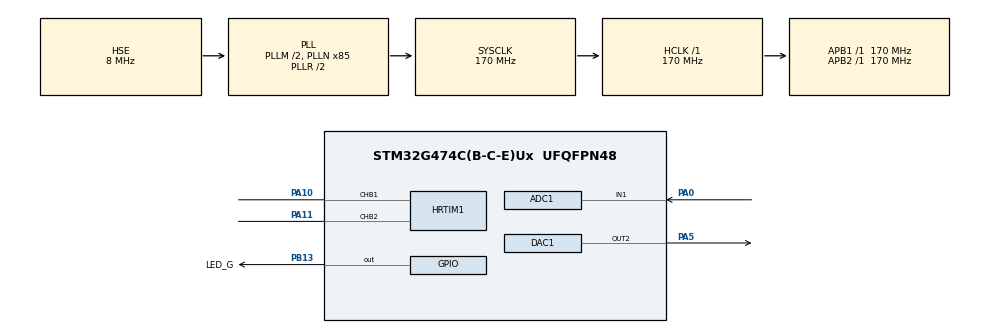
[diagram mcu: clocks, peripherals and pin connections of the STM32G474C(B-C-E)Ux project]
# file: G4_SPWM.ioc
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ADC1.Channel-0\#ChannelRegularConversion=ADC_CHANNEL_1
ADC1.ClockPrescaler=ADC_CLOCK_ASYNC_DIV4
ADC1.ContinuousConvMode=DISABLE
ADC1.EnableInjectedConversion=DISABLE
ADC1.ExternalTrigConv=ADC_EXTERNALTRIG_T3_TRGO
ADC1.LowPowerAutoWait=ENABLE
ADC1.NbrOfConversion=1
ADC1.NbrOfConversionFlag=1
ADC1.OffsetNumber-0\#ChannelRegularConversion=ADC_OFFSET_NONE
ADC1.Rank-0\#ChannelRegularConversion=1
ADC1.Rank1_Channel=ADC_CHANNEL_1
ADC1.SamplingTime-0\#ChannelRegularConversion=ADC_SAMPLETIME_2CYCLES_5
ADC1.master=1
DAC1.DAC_Channel-DAC_OUT2=DAC_CHANNEL_2
HRTIM1.CompareUnit1-Output_TB1TB2=HRTIM_COMPAREUNIT_1
HRTIM1.CompareValue1-Output_TB1TB2=0
HRTIM1.DeadTimeInsertion-Output_TB1TB2=HRTIM_TIMDEADTIMEINSERTION_ENABLED
HRTIM1.FallingValue-Output_TB1TB2=200
HRTIM1.NumberResetSource1-Output_TB1TB2=1
HRTIM1.NumberSetSource1-Output_TB1TB2=1
HRTIM1.Periode_TB=11333
HRTIM1.PreloadEnable-Output_TB1TB2=HRTIM_PRELOAD_ENABLED
HRTIM1.PrescalerRatio_TB=HRTIM_PRESCALERRATIO_DIV1
HRTIM1.RepetitionUpdate-Output_TB1TB2=HRTIM_UPDATEONREPETITION_ENABLED
HRTIM1.ResetOutput1_Source1-Output_TB1TB2=HRTIM_OUTPUTRESET_TIMCMP1
HRTIM1.RisingValue-Output_TB1TB2=200
HRTIM1.SetOutput1_Source1-Output_TB1TB2=HRTIM_OUTPUTSET_TIMPER
Mcu.Family=STM32G4
Mcu.Name=STM32G474C(B-C-E)Ux
Mcu.Package=UFQFPN48
NVIC.ADC1_2_IRQn=true\:0\:0\:false\:false\:true\:true\:true\:true
NVIC.HRTIM1_TIMB_IRQn=true\:0\:0\:false\:false\:true\:true\:true\:true
NVIC.PriorityGroup=NVIC_PRIORITYGROUP_4
NVIC.TIM2_IRQn=true\:0\:0\:false\:false\:true\:true\:true\:true
PA0.Mode=IN1-Single-Ended
PA0.Signal=ADC1_IN1
PA10.Mode=Output_TB1TB2
PA10.Signal=HRTIM1_CHB1
PA11.Mode=Output_TB1TB2
PA11.Signal=HRTIM1_CHB2
PA13.Mode=Serial_Wire
PA13.Signal=SYS_JTMS-SWDIO
PA14.Mode=Serial_Wire
PA14.Signal=SYS_JTCK-SWCLK
PA5.Signal=COMP_DAC12_group
PB13.GPIO_Label=LED_G
PB13.Signal=GPIO_Output
PF0-OSC_IN.Mode=HSE-External-Oscillator
PF0-OSC_IN.Signal=RCC_OSC_IN
PF1-OSC_OUT.Mode=HSE-External-Oscillator
PF1-OSC_OUT.Signal=RCC_OSC_OUT
ProjectManager.HeapSize=0x200
ProjectManager.StackSize=0x400
ProjectManager.TargetToolchain=STM32CubeIDE
RCC.ADC12Freq_Value=170000000
RCC.ADC345Freq_Value=170000000
RCC.AHBFreq_Value=170000000
RCC.APB1Freq_Value=170000000
RCC.APB1TimFreq_Value=170000000
RCC.APB2Freq_Value=170000000
RCC.APB2TimFreq_Value=170000000
RCC.CortexFreq_Value=170000000
RCC.EXTERNAL_CLOCK_VALUE=12288000
RCC.HCLKFreq_Value=170000000
RCC.HSE_VALUE=8000000
RCC.HSI48_VALUE=48000000
RCC.HSI_VALUE=16000000
RCC.LSE_VALUE=32768
RCC.PLLM=RCC_PLLM_DIV2
RCC.PLLN=85
RCC.PLLSourceVirtual=RCC_PLLSOURCE_HSE
RCC.SYSCLKFreq_VALUE=170000000
RCC.SYSCLKSource=RCC_SYSCLKSOURCE_PLLCLK
RCC.USBFreq_Value=170000000
RCC.VCOOutputFreq_Value=340000000
SH.COMP_DAC12_group.0=DAC1_OUT2,DAC_OUT2
STMicroelectronics.X-CUBE-ALGOBUILD.1.4.0.LibraryCcDSPOoLibraryJjDSPOoLibrary=true
TIM2.PeriodNoDither=66
TIM2.Prescaler=169
TIM3.PeriodNoDither=13281
TIM3.TIM_MasterOutputTrigger=TIM_TRGO_UPDATE
TIM3.TIM_MasterSlaveMode=TIM_MASTERSLAVEMODE_DISABLE
VP_STMicroelectronics.X-CUBE-ALGOBUILD_VS_DSPOoLibraryJjLibrary_1.4.0_1.4.0.Mode=DSPOoLibraryJjLibrary
VP_SYS_VS_DBSignals.Mode=DisableDeadBatterySignals
VP_TIM2_VS_ClockSourceINT.Mode=Internal
VP_TIM3_VS_ClockSourceINT.Mode=Internal
board=custom

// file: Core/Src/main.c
/* USER CODE BEGIN Header */
/**
  ******************************************************************************
  * @file           : main.c
  * @brief          : Main program body
  ******************************************************************************
  * @attention
  *
  * Copyright (c) 2025 STMicroelectronics.
  * All rights reserved.
  *
  * This software is licensed under terms that can be found in the LICENSE file
  * in the root directory of this software component.
  * If no LICENSE file comes with this software, it is provided AS-IS.
  *
  ******************************************************************************
  */
/* USER CODE END Header */
#include "main.h"

/* USER CODE BEGIN Includes */
#include <math.h>
#include "spwm.h"
#include "SEGGER_RTT.h"
#include <stdio.h>
#include <sys/errno.h>
#include "mc_spll.h"
/* USER CODE END Includes */

/* USER CODE BEGIN PM */
#define printf(...) SEGGER_RTT_printf(0, ##__VA_ARGS__)
/* USER CODE END PM */

ADC_HandleTypeDef hadc1;

DAC_HandleTypeDef hdac1;

HRTIM_HandleTypeDef hhrtim1;

TIM_HandleTypeDef htim2;
TIM_HandleTypeDef htim3;

/* USER CODE BEGIN PV */
volatile control_value_t adc_raw_value = 0.0f;
volatile control_value_t g_current_freq = 0.0f;
volatile bool g_is_spll_locked = false;
struct control_SPLL spll;
uint32_t value_adc;
uint32_t value_dac=0;
/* USER CODE END PV */

void SystemClock_Config(void);
static void MX_GPIO_Init(void);
static void MX_HRTIM1_Init(void);
static void MX_TIM2_Init(void);
static void MX_ADC1_Init(void);
static void MX_DAC1_Init(void);
static void MX_TIM3_Init(void);

/* USER CODE BEGIN 0 */
int _write(int file, char* ptr, int len)
{
  if (file == 1 /* stdout */ || file == 2 /* stderr */)
  {
    return SEGGER_RTT_Write(0, ptr, len);
  }
  errno = EBADF;
  return -1;
}

void HAL_TIM_PeriodElapsedCallback(TIM_HandleTypeDef *htim)
{
  if (htim->Instance == TIM2)
  {
    spwm_update();
  }
}

void HAL_ADC_ConvCpltCallback(ADC_HandleTypeDef* hadc)
{
  if (hadc->Instance == ADC1)
  {
    uint16_t adc_raw = HAL_ADC_GetValue(&hadc1);

    float adc_val = ((float)adc_raw) * 3.3f / 4095.0f;

    control_SPLL_transfer_1phase(&spll, adc_val);

    static int cnt = 0;
    if (++cnt >= 128)
    {
      cnt = 0;
      char msg[32];
      float freq = control_SPLL_freq(&spll);

      int freq_int = (int)(freq * 100 + 0.5f);
      int integer_part = freq_int / 100;
      int decimal_part = freq_int % 100;

      sprintf(msg, "Freq: %d.%02d Hz\r\n", integer_part, decimal_part);
      printf("%s", msg);
    }

    HAL_ADC_Start_IT(&hadc1);
  }
}

/* USER CODE END 0 */

int main(void)
{

  /* MCU Configuration--------------------------------------------------------*/

  /* Reset of all peripherals, Initializes the Flash interface and the Systick. */
  HAL_Init();

  /* Configure the system clock */
  SystemClock_Config();

  /* Initialize all configured peripherals */
  MX_GPIO_Init();
  MX_HRTIM1_Init();
  MX_TIM2_Init();
  MX_ADC1_Init();
  MX_DAC1_Init();
  MX_TIM3_Init();
  /* USER CODE BEGIN 2 */
  SEGGER_RTT_Init();
  printf("System Init...\r\n");

  control_SPLL_init(&spll);
  HAL_TIM_Base_Start(&htim3);
  HAL_ADC_Start_IT(&hadc1);

  HAL_HRTIM_WaveformCounterStart(&hhrtim1, HRTIM_TIMERID_TIMER_B);
  HAL_HRTIM_WaveformOutputStart(&hhrtim1, HRTIM_OUTPUT_TB1 | HRTIM_OUTPUT_TB2);

  spwm_init(11333);
  spwm_start();
  HAL_TIM_Base_Start_IT(&htim2);

  /* USER CODE END 2 */

  /* Infinite loop */
  /* USER CODE BEGIN WHILE */
  while (1)
  {
    HAL_GPIO_TogglePin(LED_G_GPIO_Port, LED_G_Pin);
    /* USER CODE END WHILE */

  }
}

void SystemClock_Config(void)
{
  RCC_OscInitTypeDef RCC_OscInitStruct = {0};
  RCC_ClkInitTypeDef RCC_ClkInitStruct = {0};

  /** Configure the main internal regulator output voltage
  */
  HAL_PWREx_ControlVoltageScaling(PWR_REGULATOR_VOLTAGE_SCALE1_BOOST);

  /** Initializes the RCC Oscillators according to the specified parameters
  * in the RCC_OscInitTypeDef structure.
  */
  RCC_OscInitStruct.OscillatorType = RCC_OSCILLATORTYPE_HSE;
  RCC_OscInitStruct.HSEState = RCC_HSE_ON;
  RCC_OscInitStruct.PLL.PLLState = RCC_PLL_ON;
  RCC_OscInitStruct.PLL.PLLSource = RCC_PLLSOURCE_HSE;
  RCC_OscInitStruct.PLL.PLLM = RCC_PLLM_DIV2;
  RCC_OscInitStruct.PLL.PLLN = 85;
  RCC_OscInitStruct.PLL.PLLP = RCC_PLLP_DIV2;
  RCC_OscInitStruct.PLL.PLLQ = RCC_PLLQ_DIV2;
  RCC_OscInitStruct.PLL.PLLR = RCC_PLLR_DIV2;
  if (HAL_RCC_OscConfig(&RCC_OscInitStruct) != HAL_OK)
  {
    Error_Handler();
  }

  /** Initializes the CPU, AHB and APB buses clocks
  */
  RCC_ClkInitStruct.ClockType = RCC_CLOCKTYPE_HCLK|RCC_CLOCKTYPE_SYSCLK
                              |RCC_CLOCKTYPE_PCLK1|RCC_CLOCKTYPE_PCLK2;
  RCC_ClkInitStruct.SYSCLKSource = RCC_SYSCLKSOURCE_PLLCLK;
  RCC_ClkInitStruct.AHBCLKDivider = RCC_SYSCLK_DIV1;
  RCC_ClkInitStruct.APB1CLKDivider = RCC_HCLK_DIV1;
  RCC_ClkInitStruct.APB2CLKDivider = RCC_HCLK_DIV1;

  if (HAL_RCC_ClockConfig(&RCC_ClkInitStruct, FLASH_LATENCY_4) != HAL_OK)
  {
    Error_Handler();
  }
}

static void MX_ADC1_Init(void)
{

  ADC_MultiModeTypeDef multimode = {0};
  ADC_ChannelConfTypeDef sConfig = {0};

  /** Common config
  */
  hadc1.Instance = ADC1;
  hadc1.Init.ClockPrescaler = ADC_CLOCK_ASYNC_DIV4;
  hadc1.Init.Resolution = ADC_RESOLUTION_12B;
  hadc1.Init.DataAlign = ADC_DATAALIGN_RIGHT;
  hadc1.Init.GainCompensation = 0;
  hadc1.Init.ScanConvMode = ADC_SCAN_DISABLE;
  hadc1.Init.EOCSelection = ADC_EOC_SINGLE_CONV;
  hadc1.Init.LowPowerAutoWait = ENABLE;
  hadc1.Init.ContinuousConvMode = DISABLE;
  hadc1.Init.NbrOfConversion = 1;
  hadc1.Init.DiscontinuousConvMode = DISABLE;
  hadc1.Init.ExternalTrigConv = ADC_EXTERNALTRIG_T3_TRGO;
  hadc1.Init.ExternalTrigConvEdge = ADC_EXTERNALTRIGCONVEDGE_RISING;
  hadc1.Init.DMAContinuousRequests = DISABLE;
  hadc1.Init.Overrun = ADC_OVR_DATA_PRESERVED;
  hadc1.Init.OversamplingMode = DISABLE;
  if (HAL_ADC_Init(&hadc1) != HAL_OK)
  {
    Error_Handler();
  }

  /** Configure the ADC multi-mode
  */
  multimode.Mode = ADC_MODE_INDEPENDENT;
  if (HAL_ADCEx_MultiModeConfigChannel(&hadc1, &multimode) != HAL_OK)
  {
    Error_Handler();
  }

  /** Configure Regular Channel
  */
  sConfig.Channel = ADC_CHANNEL_1;
  sConfig.Rank = ADC_REGULAR_RANK_1;
  sConfig.SamplingTime = ADC_SAMPLETIME_2CYCLES_5;
  sConfig.SingleDiff = ADC_SINGLE_ENDED;
  sConfig.OffsetNumber = ADC_OFFSET_NONE;
  sConfig.Offset = 0;
  if (HAL_ADC_ConfigChannel(&hadc1, &sConfig) != HAL_OK)
  {
    Error_Handler();
  }

}

static void MX_DAC1_Init(void)
{

  DAC_ChannelConfTypeDef sConfig = {0};

  /** DAC Initialization
  */
  hdac1.Instance = DAC1;
  if (HAL_DAC_Init(&hdac1) != HAL_OK)
  {
    Error_Handler();
  }

  /** DAC channel OUT2 config
  */
  sConfig.DAC_HighFrequency = DAC_HIGH_FREQUENCY_INTERFACE_MODE_AUTOMATIC;
  sConfig.DAC_DMADoubleDataMode = DISABLE;
  sConfig.DAC_SignedFormat = DISABLE;
  sConfig.DAC_SampleAndHold = DAC_SAMPLEANDHOLD_DISABLE;
  sConfig.DAC_Trigger = DAC_TRIGGER_NONE;
  sConfig.DAC_Trigger2 = DAC_TRIGGER_NONE;
  sConfig.DAC_OutputBuffer = DAC_OUTPUTBUFFER_ENABLE;
  sConfig.DAC_ConnectOnChipPeripheral = DAC_CHIPCONNECT_EXTERNAL;
  sConfig.DAC_UserTrimming = DAC_TRIMMING_FACTORY;
  if (HAL_DAC_ConfigChannel(&hdac1, &sConfig, DAC_CHANNEL_2) != HAL_OK)
  {
    Error_Handler();
  }

}

static void MX_HRTIM1_Init(void)
{

  HRTIM_TimeBaseCfgTypeDef pTimeBaseCfg = {0};
  HRTIM_TimerCtlTypeDef pTimerCtl = {0};
  HRTIM_TimerCfgTypeDef pTimerCfg = {0};
  HRTIM_CompareCfgTypeDef pCompareCfg = {0};
  HRTIM_DeadTimeCfgTypeDef pDeadTimeCfg = {0};
  HRTIM_OutputCfgTypeDef pOutputCfg = {0};

  hhrtim1.Instance = HRTIM1;
  hhrtim1.Init.HRTIMInterruptResquests = HRTIM_IT_NONE;
  hhrtim1.Init.SyncOptions = HRTIM_SYNCOPTION_NONE;
  if (HAL_HRTIM_Init(&hhrtim1) != HAL_OK)
  {
    Error_Handler();
  }
  if (HAL_HRTIM_DLLCalibrationStart(&hhrtim1, HRTIM_CALIBRATIONRATE_3) != HAL_OK)
  {
    Error_Handler();
  }
  if (HAL_HRTIM_PollForDLLCalibration(&hhrtim1, 10) != HAL_OK)
  {
    Error_Handler();
  }
  pTimeBaseCfg.Period = 11333;
  pTimeBaseCfg.RepetitionCounter = 0x00;
  pTimeBaseCfg.PrescalerRatio = HRTIM_PRESCALERRATIO_DIV1;
  pTimeBaseCfg.Mode = HRTIM_MODE_CONTINUOUS;
  if (HAL_HRTIM_TimeBaseConfig(&hhrtim1, HRTIM_TIMERINDEX_TIMER_B, &pTimeBaseCfg) != HAL_OK)
  {
    Error_Handler();
  }
  pTimerCtl.UpDownMode = HRTIM_TIMERUPDOWNMODE_UP;
  pTimerCtl.GreaterCMP1 = HRTIM_TIMERGTCMP1_EQUAL;
  pTimerCtl.DualChannelDacEnable = HRTIM_TIMER_DCDE_DISABLED;
  if (HAL_HRTIM_WaveformTimerControl(&hhrtim1, HRTIM_TIMERINDEX_TIMER_B, &pTimerCtl) != HAL_OK)
  {
    Error_Handler();
  }
  pTimerCfg.InterruptRequests = HRTIM_TIM_IT_NONE;
  pTimerCfg.DMARequests = HRTIM_TIM_DMA_NONE;
  pTimerCfg.DMASrcAddress = 0x0000;
  pTimerCfg.DMADstAddress = 0x0000;
  pTimerCfg.DMASize = 0x1;
  pTimerCfg.HalfModeEnable = HRTIM_HALFMODE_DISABLED;
  pTimerCfg.InterleavedMode = HRTIM_INTERLEAVED_MODE_DISABLED;
  pTimerCfg.StartOnSync = HRTIM_SYNCSTART_DISABLED;
  pTimerCfg.ResetOnSync = HRTIM_SYNCRESET_DISABLED;
  pTimerCfg.DACSynchro = HRTIM_DACSYNC_NONE;
  pTimerCfg.PreloadEnable = HRTIM_PRELOAD_ENABLED;
  pTimerCfg.UpdateGating = HRTIM_UPDATEGATING_INDEPENDENT;
  pTimerCfg.BurstMode = HRTIM_TIMERBURSTMODE_MAINTAINCLOCK;
  pTimerCfg.RepetitionUpdate = HRTIM_UPDATEONREPETITION_ENABLED;
  pTimerCfg.PushPull = HRTIM_TIMPUSHPULLMODE_DISABLED;
  pTimerCfg.FaultEnable = HRTIM_TIMFAULTENABLE_NONE;
  pTimerCfg.FaultLock = HRTIM_TIMFAULTLOCK_READWRITE;
  pTimerCfg.DeadTimeInsertion = HRTIM_TIMDEADTIMEINSERTION_ENABLED;
  pTimerCfg.DelayedProtectionMode = HRTIM_TIMER_A_B_C_DELAYEDPROTECTION_DISABLED;
  pTimerCfg.UpdateTrigger = HRTIM_TIMUPDATETRIGGER_NONE;
  pTimerCfg.ResetTrigger = HRTIM_TIMRESETTRIGGER_NONE;
  pTimerCfg.ResetUpdate = HRTIM_TIMUPDATEONRESET_DISABLED;
  pTimerCfg.ReSyncUpdate = HRTIM_TIMERESYNC_UPDATE_UNCONDITIONAL;
  if (HAL_HRTIM_WaveformTimerConfig(&hhrtim1, HRTIM_TIMERINDEX_TIMER_B, &pTimerCfg) != HAL_OK)
  {
    Error_Handler();
  }
  pCompareCfg.CompareValue = 0;
  if (HAL_HRTIM_WaveformCompareConfig(&hhrtim1, HRTIM_TIMERINDEX_TIMER_B, HRTIM_COMPAREUNIT_1, &pCompareCfg) != HAL_OK)
  {
    Error_Handler();
  }
  pDeadTimeCfg.Prescaler = HRTIM_TIMDEADTIME_PRESCALERRATIO_MUL8;
  pDeadTimeCfg.RisingValue = 200;
  pDeadTimeCfg.RisingSign = HRTIM_TIMDEADTIME_RISINGSIGN_POSITIVE;
  pDeadTimeCfg.RisingLock = HRTIM_TIMDEADTIME_RISINGLOCK_WRITE;
  pDeadTimeCfg.RisingSignLock = HRTIM_TIMDEADTIME_RISINGSIGNLOCK_WRITE;
  pDeadTimeCfg.FallingValue = 200;
  pDeadTimeCfg.FallingSign = HRTIM_TIMDEADTIME_FALLINGSIGN_POSITIVE;
  pDeadTimeCfg.FallingLock = HRTIM_TIMDEADTIME_FALLINGLOCK_WRITE;
  pDeadTimeCfg.FallingSignLock = HRTIM_TIMDEADTIME_FALLINGSIGNLOCK_WRITE;
  if (HAL_HRTIM_DeadTimeConfig(&hhrtim1, HRTIM_TIMERINDEX_TIMER_B, &pDeadTimeCfg) != HAL_OK)
  {
    Error_Handler();
  }
  pOutputCfg.Polarity = HRTIM_OUTPUTPOLARITY_HIGH;
  pOutputCfg.SetSource = HRTIM_OUTPUTSET_TIMPER;
  pOutputCfg.ResetSource = HRTIM_OUTPUTRESET_TIMCMP1;
  pOutputCfg.IdleMode = HRTIM_OUTPUTIDLEMODE_NONE;
  pOutputCfg.IdleLevel = HRTIM_OUTPUTIDLELEVEL_INACTIVE;
  pOutputCfg.FaultLevel = HRTIM_OUTPUTFAULTLEVEL_NONE;
  pOutputCfg.ChopperModeEnable = HRTIM_OUTPUTCHOPPERMODE_DISABLED;
  pOutputCfg.BurstModeEntryDelayed = HRTIM_OUTPUTBURSTMODEENTRY_REGULAR;
  if (HAL_HRTIM_WaveformOutputConfig(&hhrtim1, HRTIM_TIMERINDEX_TIMER_B, HRTIM_OUTPUT_TB1, &pOutputCfg) != HAL_OK)
  {
    Error_Handler();
  }
  pOutputCfg.SetSource = HRTIM_OUTPUTSET_NONE;
  pOutputCfg.ResetSource = HRTIM_OUTPUTRESET_NONE;
  if (HAL_HRTIM_WaveformOutputConfig(&hhrtim1, HRTIM_TIMERINDEX_TIMER_B, HRTIM_OUTPUT_TB2, &pOutputCfg) != HAL_OK)
  {
    Error_Handler();
  }
  HAL_HRTIM_MspPostInit(&hhrtim1);

}

static void MX_TIM2_Init(void)
{

  TIM_ClockConfigTypeDef sClockSourceConfig = {0};
  TIM_MasterConfigTypeDef sMasterConfig = {0};

  htim2.Instance = TIM2;
  htim2.Init.Prescaler = 169;
  htim2.Init.CounterMode = TIM_COUNTERMODE_UP;
  htim2.Init.Period = 66;
  htim2.Init.ClockDivision = TIM_CLOCKDIVISION_DIV1;
  htim2.Init.AutoReloadPreload = TIM_AUTORELOAD_PRELOAD_DISABLE;
  if (HAL_TIM_Base_Init(&htim2) != HAL_OK)
  {
    Error_Handler();
  }
  sClockSourceConfig.ClockSource = TIM_CLOCKSOURCE_INTERNAL;
  if (HAL_TIM_ConfigClockSource(&htim2, &sClockSourceConfig) != HAL_OK)
  {
    Error_Handler();
  }
  sMasterConfig.MasterOutputTrigger = TIM_TRGO_RESET;
  sMasterConfig.MasterSlaveMode = TIM_MASTERSLAVEMODE_DISABLE;
  if (HAL_TIMEx_MasterConfigSynchronization(&htim2, &sMasterConfig) != HAL_OK)
  {
    Error_Handler();
  }

}

static void MX_TIM3_Init(void)
{

  TIM_ClockConfigTypeDef sClockSourceConfig = {0};
  TIM_MasterConfigTypeDef sMasterConfig = {0};

  htim3.Instance = TIM3;
  htim3.Init.Prescaler = 0;
  htim3.Init.CounterMode = TIM_COUNTERMODE_UP;
  htim3.Init.Period = 13281;
  htim3.Init.ClockDivision = TIM_CLOCKDIVISION_DIV1;
  htim3.Init.AutoReloadPreload = TIM_AUTORELOAD_PRELOAD_DISABLE;
  if (HAL_TIM_Base_Init(&htim3) != HAL_OK)
  {
    Error_Handler();
  }
  sClockSourceConfig.ClockSource = TIM_CLOCKSOURCE_INTERNAL;
  if (HAL_TIM_ConfigClockSource(&htim3, &sClockSourceConfig) != HAL_OK)
  {
    Error_Handler();
  }
  sMasterConfig.MasterOutputTrigger = TIM_TRGO_UPDATE;
  sMasterConfig.MasterSlaveMode = TIM_MASTERSLAVEMODE_DISABLE;
  if (HAL_TIMEx_MasterConfigSynchronization(&htim3, &sMasterConfig) != HAL_OK)
  {
    Error_Handler();
  }

}

static void MX_GPIO_Init(void)
{
  GPIO_InitTypeDef GPIO_InitStruct = {0};

  /* GPIO Ports Clock Enable */
  __HAL_RCC_GPIOF_CLK_ENABLE();
  __HAL_RCC_GPIOA_CLK_ENABLE();
  __HAL_RCC_GPIOB_CLK_ENABLE();

  /*Configure GPIO pin Output Level */
  HAL_GPIO_WritePin(LED_G_GPIO_Port, LED_G_Pin, GPIO_PIN_RESET);

  /*Configure GPIO pin : LED_G_Pin */
  GPIO_InitStruct.Pin = LED_G_Pin;
  GPIO_InitStruct.Mode = GPIO_MODE_OUTPUT_PP;
  GPIO_InitStruct.Pull = GPIO_NOPULL;
  GPIO_InitStruct.Speed = GPIO_SPEED_FREQ_LOW;
  HAL_GPIO_Init(LED_G_GPIO_Port, &GPIO_InitStruct);

}

void Error_Handler(void)
{
  __disable_irq();
  while (1)
  {
  }
}
